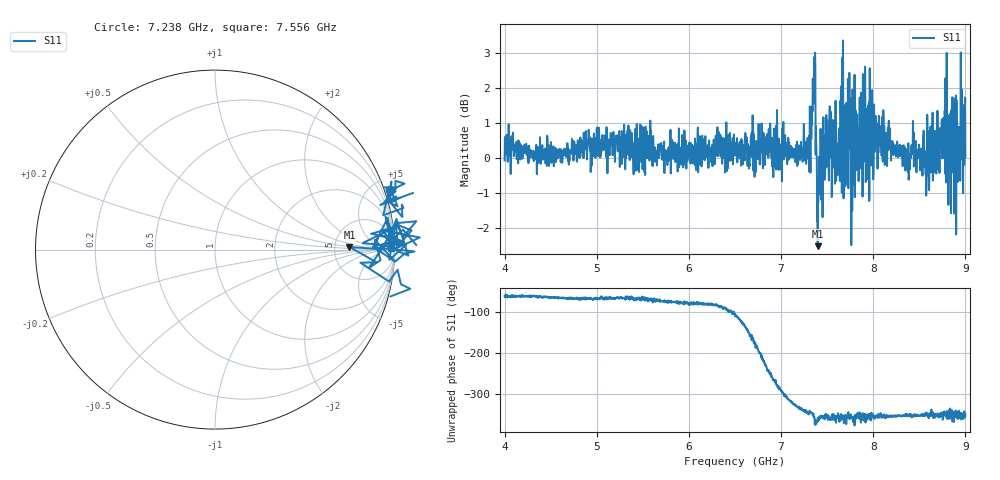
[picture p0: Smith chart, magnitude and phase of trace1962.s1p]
! Created with skrf 1.8.0 (http://scikit-rf.org).
# Hz S RI R 50.0
!freq ReS11 ImS11
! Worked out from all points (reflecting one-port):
!   1601 points, 4 GHz to 9 GHz, reference 50 ohm
!   lowest |S11| = -2.5 dB at 7.397 GHz (marker M1), VSWR 6.98, Z = 347 + j23.5 ohm
!   phase of S11 starts at -60 deg and turns -293 deg over the sweep
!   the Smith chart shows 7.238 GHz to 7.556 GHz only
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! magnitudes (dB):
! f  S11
! 4 GHz  -0.1
! 4.625 GHz  -0.1
! 5.25 GHz  -0.3
! 5.875 GHz  0.2
! 6.5 GHz  0.3
! 7.125 GHz  0.2
! 7.294 GHz  0.0
! 7.347 GHz  1.7
! 7.362 GHz  2.5
! 7.397 GHz  -2.5
! 7.412 GHz  0.0
! 7.512 GHz  0.5
! 7.612 GHz  -0.4
! 7.647 GHz  1.3
! 7.666 GHz  2.9
! 7.703 GHz  -0.7
! 7.731 GHz  -0.9
! 7.75 GHz  0.8
! 7.784 GHz  0.0
! 7.8 GHz  -1.1
! 7.891 GHz  0.1
! 8.375 GHz  0.0
! 8.438 GHz  0.7
! 8.584 GHz  1.2
! 8.772 GHz  0.8
! 8.856 GHz  0.0
! 8.972 GHz  0.6
! 9 GHz  0.0
